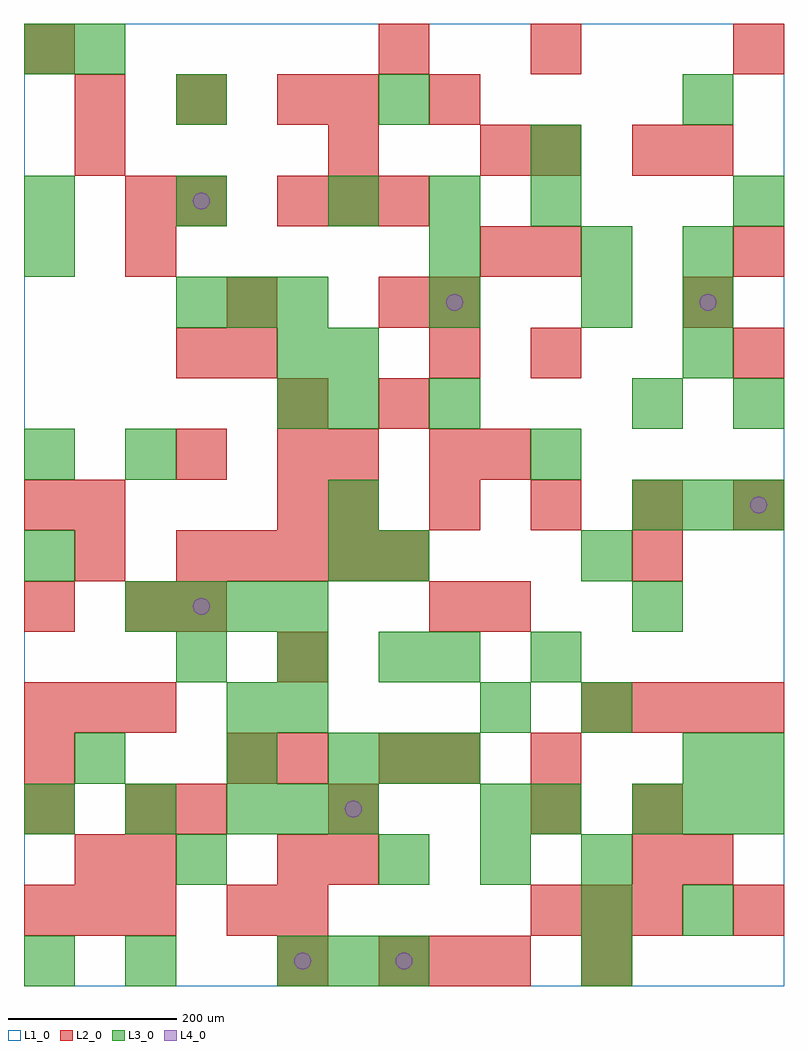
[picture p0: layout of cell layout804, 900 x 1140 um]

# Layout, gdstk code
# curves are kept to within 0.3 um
import gdstk
lib = gdstk.Library(unit=1e-6, precision=1e-09)
def R(c, l, rs):  # rectangles x0, y0, x1, y1
    for r in rs: c.add(gdstk.rectangle(r[:2], r[2:], *l))
def A(c, l, x, y, w, h, nx, ny, dx, dy):  # array of equal rectangles
    R(c, l, [(x+i*dx, y+j*dy, x+i*dx+w, y+j*dy+h) for i in range(nx) for j in range(ny)])
def P(c, l, *ps):  # polygons
    for p in ps: c.add(gdstk.Polygon(p, *l))
L1_0 = (1, 0)
L2_0 = (2, 0)
L3_0 = (3, 0)
L4_0 = (4, 0)

layout804 = lib.new_cell('layout804')
R(layout804, L1_0, [(0,0,900,1140)])
A(layout804, L2_0, 300, 0, 60, 60, 1, 3, 0, 60)
A(layout804, L2_0, 420, 0, 60, 60, 3, 1, 60, 0)
A(layout804, L2_0, 0, 60, 60, 60, 3, 2, 60, 240)
A(layout804, L2_0, 600, 60, 60, 60, 3, 1, 60, 0)
A(layout804, L2_0, 480, 240, 60, 60, 1, 3, 0, 180)
A(layout804, L2_0, 660, 300, 60, 60, 4, 1, 60, 0)
A(layout804, L2_0, 180, 480, 60, 60, 5, 1, 60, 0)
A(layout804, L2_0, 300, 540, 60, 60, 1, 3, 0, 60)
A(layout804, L2_0, 360, 540, 60, 60, 5, 1, 120, 0)
A(layout804, L2_0, 600, 720, 60, 60, 1, 4, 0, 120)
A(layout804, L2_0, 300, 900, 60, 60, 3, 1, 60, 0)
A(layout804, L2_0, 60, 1020, 60, 60, 3, 1, 120, 0)
R(layout804, L2_0, [(660,0,720,60), (240,60,300,120), (840,60,900,120), (60,120,120,180), (120,120,180,180), (360,120,420,180), (720,120,780,180), (780,120,840,180), (0,180,60,240), (120,180,180,240), (180,180,240,240), (360,180,420,240), (600,180,660,240), (720,180,780,240), (0,240,60,300), (240,240,300,300), (300,240,360,300), (420,240,480,300), (600,240,660,300), (300,360,360,420), (0,420,60,480), (120,420,180,480), (180,420,240,480), (540,420,600,480), (60,480,120,540), (720,480,780,540), (0,540,60,600), (60,540,120,600), (180,600,240,660), (360,600,420,660), (540,600,600,660), (420,660,480,720), (180,720,240,780), (240,720,300,780), (480,720,540,780), (840,720,900,780), (240,780,300,840), (420,780,480,840), (480,780,540,840), (780,780,840,840), (120,840,180,900), (540,840,600,900), (840,840,900,900), (120,900,180,960), (180,900,240,960), (60,960,120,1020), (360,960,420,1020), (540,960,600,1020), (720,960,780,1020), (780,960,840,1020), (360,1020,420,1080), (480,1020,540,1080), (0,1080,60,1140), (420,1080,480,1140), (840,1080,900,1140)])
A(layout804, L3_0, 300, 0, 60, 60, 3, 1, 60, 0)
A(layout804, L3_0, 420, 120, 60, 60, 3, 1, 120, 0)
A(layout804, L3_0, 0, 180, 60, 60, 3, 1, 120, 0)
A(layout804, L3_0, 720, 180, 60, 60, 3, 2, 60, 360)
A(layout804, L3_0, 360, 240, 60, 60, 3, 1, 60, 0)
A(layout804, L3_0, 180, 360, 60, 60, 3, 1, 120, 0)
A(layout804, L3_0, 120, 420, 60, 60, 4, 1, 60, 0)
A(layout804, L3_0, 0, 600, 60, 60, 1, 3, 0, 240)
A(layout804, L3_0, 780, 720, 60, 60, 1, 3, 0, 60)
A(layout804, L3_0, 180, 780, 60, 60, 3, 1, 60, 0)
A(layout804, L3_0, 480, 780, 60, 60, 1, 3, 0, 60)
A(layout804, L3_0, 0, 900, 60, 60, 3, 1, 180, 0)
R(layout804, L3_0, [(0,0,60,60), (120,0,180,60), (660,0,720,60), (660,60,720,120), (780,60,840,120), (180,120,240,180), (300,180,360,240), (360,180,420,240), (540,180,600,240), (600,180,660,240), (60,240,120,300), (240,240,300,300), (780,240,840,300), (840,240,900,300), (240,300,300,360), (300,300,360,360), (540,300,600,360), (660,300,720,360), (480,360,540,420), (600,360,660,420), (720,420,780,480), (0,480,60,540), (360,480,420,540), (420,480,480,540), (660,480,720,540), (360,540,420,600), (120,600,180,660), (600,600,660,660), (300,660,360,720), (360,660,420,720), (480,660,540,720), (720,660,780,720), (840,660,900,720), (300,720,360,780), (360,720,420,780), (660,780,720,840), (660,840,720,900), (600,900,660,960), (840,900,900,960), (600,960,660,1020), (180,1020,240,1080), (420,1020,480,1080), (780,1020,840,1080), (60,1080,120,1140)])
P(layout804, L4_0, [(220,450),(219.239,453.827),(217.071,457.071),(213.827,459.239),(210,460),(206.173,459.239),(202.929,457.071),(200.761,453.827),(200,450),(200.761,446.173),(202.929,442.929),(206.173,440.761),(210,440),(213.827,440.761),(217.071,442.929),(219.239,446.173)],
  [(220,930),(219.239,933.827),(217.071,937.071),(213.827,939.239),(210,940),(206.173,939.239),(202.929,937.071),(200.761,933.827),(200,930),(200.761,926.173),(202.929,922.929),(206.173,920.761),(210,920),(213.827,920.761),(217.071,922.929),(219.239,926.173)],
  [(340,30),(339.239,33.827),(337.071,37.071),(333.827,39.239),(330,40),(326.173,39.239),(322.929,37.071),(320.761,33.827),(320,30),(320.761,26.173),(322.929,22.929),(326.173,20.761),(330,20),(333.827,20.761),(337.071,22.929),(339.239,26.173)],
  [(400,210),(399.239,213.827),(397.071,217.071),(393.827,219.239),(390,220),(386.173,219.239),(382.929,217.071),(380.761,213.827),(380,210),(380.761,206.173),(382.929,202.929),(386.173,200.761),(390,200),(393.827,200.761),(397.071,202.929),(399.239,206.173)],
  [(460,30),(459.239,33.827),(457.071,37.071),(453.827,39.239),(450,40),(446.173,39.239),(442.929,37.071),(440.761,33.827),(440,30),(440.761,26.173),(442.929,22.929),(446.173,20.761),(450,20),(453.827,20.761),(457.071,22.929),(459.239,26.173)],
  [(520,810),(519.239,813.827),(517.071,817.071),(513.827,819.239),(510,820),(506.173,819.239),(502.929,817.071),(500.761,813.827),(500,810),(500.761,806.173),(502.929,802.929),(506.173,800.761),(510,800),(513.827,800.761),(517.071,802.929),(519.239,806.173)],
  [(820,810),(819.239,813.827),(817.071,817.071),(813.827,819.239),(810,820),(806.173,819.239),(802.929,817.071),(800.761,813.827),(800,810),(800.761,806.173),(802.929,802.929),(806.173,800.761),(810,800),(813.827,800.761),(817.071,802.929),(819.239,806.173)],
  [(880,570),(879.239,573.827),(877.071,577.071),(873.827,579.239),(870,580),(866.173,579.239),(862.929,577.071),(860.761,573.827),(860,570),(860.761,566.173),(862.929,562.929),(866.173,560.761),(870,560),(873.827,560.761),(877.071,562.929),(879.239,566.173)])

lib.write_gds('layout804.gds')
